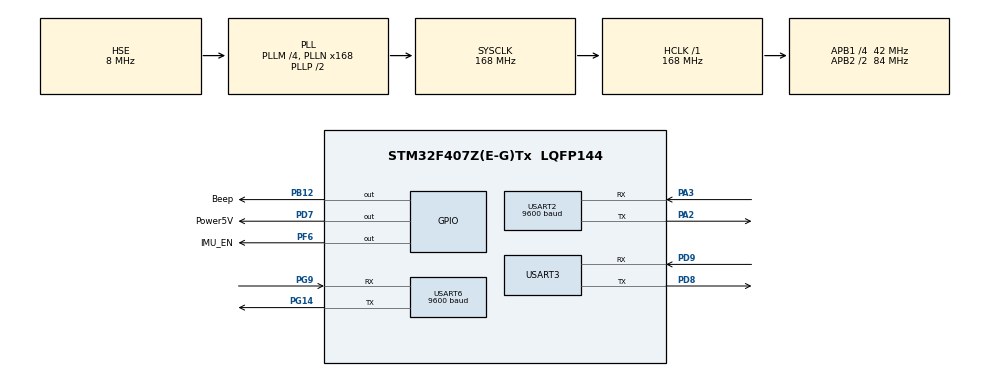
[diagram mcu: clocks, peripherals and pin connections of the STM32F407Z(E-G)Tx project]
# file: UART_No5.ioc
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Mcu.Family=STM32F4
Mcu.Name=STM32F407Z(E-G)Tx
Mcu.Package=LQFP144
NVIC.PriorityGroup=NVIC_PRIORITYGROUP_4
NVIC.USART2_IRQn=true\:3\:0\:true\:false\:true\:true\:true\:true
NVIC.USART3_IRQn=true\:2\:0\:true\:false\:true\:true\:true\:true
NVIC.USART6_IRQn=true\:1\:0\:true\:false\:true\:true\:true\:true
PA13.Mode=Serial_Wire
PA13.Signal=SYS_JTMS-SWDIO
PA14.Mode=Serial_Wire
PA14.Signal=SYS_JTCK-SWCLK
PA2.Mode=Asynchronous
PA2.Signal=USART2_TX
PA3.Mode=Asynchronous
PA3.Signal=USART2_RX
PB12.GPIO_Label=Beep
PB12.Signal=GPIO_Output
PC14-OSC32_IN.Mode=LSE-External-Oscillator
PC14-OSC32_IN.Signal=RCC_OSC32_IN
PC15-OSC32_OUT.Mode=LSE-External-Oscillator
PC15-OSC32_OUT.Signal=RCC_OSC32_OUT
PD7.GPIO_Label=Power5V
PD7.Signal=GPIO_Output
PD8.Mode=Asynchronous
PD8.Signal=USART3_TX
PD9.Mode=Asynchronous
PD9.Signal=USART3_RX
PF6.GPIO_Label=IMU_EN
PF6.Signal=GPIO_Output
PG14.Mode=Asynchronous
PG14.Signal=USART6_TX
PG9.Mode=Asynchronous
PG9.Signal=USART6_RX
PH0-OSC_IN.Mode=HSE-External-Oscillator
PH0-OSC_IN.Signal=RCC_OSC_IN
PH1-OSC_OUT.Mode=HSE-External-Oscillator
PH1-OSC_OUT.Signal=RCC_OSC_OUT
ProjectManager.HeapSize=0x200
ProjectManager.StackSize=0x400
ProjectManager.TargetToolchain=STM32CubeIDE
RCC.48MHZClocksFreq_Value=84000000
RCC.AHBFreq_Value=168000000
RCC.APB1CLKDivider=RCC_HCLK_DIV4
RCC.APB1Freq_Value=42000000
RCC.APB1TimFreq_Value=84000000
RCC.APB2CLKDivider=RCC_HCLK_DIV2
RCC.APB2Freq_Value=84000000
RCC.APB2TimFreq_Value=168000000
RCC.CortexFreq_Value=168000000
RCC.HCLKFreq_Value=168000000
RCC.HSE_VALUE=8000000
RCC.HSI_VALUE=16000000
RCC.PLLM=4
RCC.PLLN=168
RCC.PLLSourceVirtual=RCC_PLLSOURCE_HSE
RCC.SYSCLKFreq_VALUE=168000000
RCC.SYSCLKSource=RCC_SYSCLKSOURCE_PLLCLK
RCC.VCOOutputFreq_Value=336000000
USART2.BaudRate=9600
USART2.VirtualMode=VM_ASYNC
USART3.VirtualMode=VM_ASYNC
USART6.BaudRate=9600
USART6.VirtualMode=VM_ASYNC
board=custom

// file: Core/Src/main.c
/* USER CODE BEGIN Header */
/**
  ******************************************************************************
  * @file           : main.c
  * @brief          : Main program body
  ******************************************************************************
  * @attention
  *
  * Copyright (c) 2023 STMicroelectronics.
  * All rights reserved.
  *
  * This software is licensed under terms that can be found in the LICENSE file
  * in the root directory of this software component.
  * If no LICENSE file comes with this software, it is provided AS-IS.
  *
  ******************************************************************************
  */
/* USER CODE END Header */
#include "main.h"
#include "usart.h"
#include "gpio.h"

/* USER CODE BEGIN Includes */
#include <stdio.h>
#include "../../Bsp/bsp_power/bsp_power.h"
#include "../../Bsp/bsp_beep/bsp_beep.h"
#include "../../Bsp/bsp_uart/bsp_uart.h"
#include "../../Bsp/bsp_battery/bsp_battery.h"

/* USER CODE END Includes */

void SystemClock_Config(void);

int main(void)
{

  /* MCU Configuration--------------------------------------------------------*/

  /* Reset of all peripherals, Initializes the Flash interface and the Systick. */
  HAL_Init();

  /* Configure the system clock */
  SystemClock_Config();

  /* Initialize all configured peripherals */
  MX_GPIO_Init();
  MX_USART2_UART_Init();
  MX_USART3_UART_Init();
  MX_USART6_UART_Init();
  /* USER CODE BEGIN 2 */

  bsp_set_power_on();
  bsp_uart_init();

  printf("LL UART OK\r\n");

  /* USER CODE END 2 */

  /* Infinite loop */
  while (1)
  {

    /* USER CODE BEGIN 3 */
	  if(debug.rx_finish ==  true)
	  {
		  debug.rx_finish = false;
		  fifo_read(&debug.rx_fifo, debug.rx_buff, debug.rx_count );

		  bsp_battery_send();

//		  printf("%s",debug.rx_buff);
		  bsp_uart_rx_clear(&debug);
	  }
	  else if(rtk.rx_finish ==  true)
	  {
		  rtk.rx_finish = false;
		  fifo_read(&rtk.rx_fifo, rtk.rx_buff, rtk.rx_count );

		  printf("%s",rtk.rx_buff);
		  bsp_uart_rx_clear(&rtk);
	  }

	  else if(cat1.rx_finish ==  true)
	  {
		  cat1.rx_finish = false;
		  fifo_read(&cat1.rx_fifo, cat1.rx_buff, cat1.rx_count );

		  if(cat1.rx_count >= 45)
		  {
			  bsp_battery_get(&battery,cat1.rx_buff);
		  }
//		  printf("%s",cat1.rx_buff);
		  bsp_uart_rx_clear(&cat1);
	  }
	  bsp_battery_send();
	  HAL_Delay(1000);
  }
  /* USER CODE END 3 */
}

void SystemClock_Config(void)
{
  RCC_OscInitTypeDef RCC_OscInitStruct = {0};
  RCC_ClkInitTypeDef RCC_ClkInitStruct = {0};

  /** Configure the main internal regulator output voltage
  */
  __HAL_RCC_PWR_CLK_ENABLE();
  __HAL_PWR_VOLTAGESCALING_CONFIG(PWR_REGULATOR_VOLTAGE_SCALE1);

  /** Initializes the RCC Oscillators according to the specified parameters
  * in the RCC_OscInitTypeDef structure.
  */
  RCC_OscInitStruct.OscillatorType = RCC_OSCILLATORTYPE_HSE;
  RCC_OscInitStruct.HSEState = RCC_HSE_ON;
  RCC_OscInitStruct.PLL.PLLState = RCC_PLL_ON;
  RCC_OscInitStruct.PLL.PLLSource = RCC_PLLSOURCE_HSE;
  RCC_OscInitStruct.PLL.PLLM = 4;
  RCC_OscInitStruct.PLL.PLLN = 168;
  RCC_OscInitStruct.PLL.PLLP = RCC_PLLP_DIV2;
  RCC_OscInitStruct.PLL.PLLQ = 4;
  if (HAL_RCC_OscConfig(&RCC_OscInitStruct) != HAL_OK)
  {
    Error_Handler();
  }

  /** Initializes the CPU, AHB and APB buses clocks
  */
  RCC_ClkInitStruct.ClockType = RCC_CLOCKTYPE_HCLK|RCC_CLOCKTYPE_SYSCLK
                              |RCC_CLOCKTYPE_PCLK1|RCC_CLOCKTYPE_PCLK2;
  RCC_ClkInitStruct.SYSCLKSource = RCC_SYSCLKSOURCE_PLLCLK;
  RCC_ClkInitStruct.AHBCLKDivider = RCC_SYSCLK_DIV1;
  RCC_ClkInitStruct.APB1CLKDivider = RCC_HCLK_DIV4;
  RCC_ClkInitStruct.APB2CLKDivider = RCC_HCLK_DIV2;

  if (HAL_RCC_ClockConfig(&RCC_ClkInitStruct, FLASH_LATENCY_5) != HAL_OK)
  {
    Error_Handler();
  }
}

void Error_Handler(void)
{
  __disable_irq();
  while (1)
  {
  }
}
